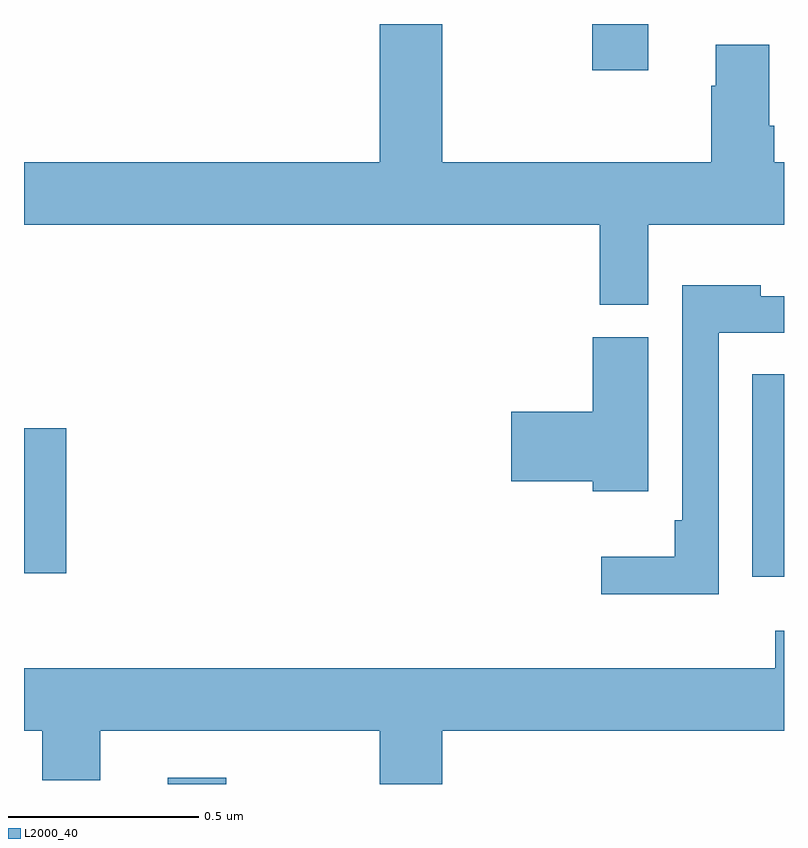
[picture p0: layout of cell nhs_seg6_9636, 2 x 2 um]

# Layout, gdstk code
import gdstk
lib = gdstk.Library(unit=1e-6, precision=1e-09)
def R(c, l, rs):  # rectangles x0, y0, x1, y1
    for r in rs: c.add(gdstk.rectangle(r[:2], r[2:], *l))
def P(c, l, *ps):  # polygons
    for p in ps: c.add(gdstk.Polygon(p, *l))
L2000_40 = (2000, 40)

nhs_seg6_9636 = lib.new_cell('nhs_seg6_9636')
R(nhs_seg6_9636, L2000_40, [(236.378,976.5,236.532,976.516), (237.917,977.046,238,977.578), (236,977.055,236.111,977.436), (237.495,978.378,237.643,978.5)])
P(nhs_seg6_9636, L2000_40, [(237.643,977.972),(238,977.972),(238,978.136),(237.974,978.136),(237.974,978.232),(237.961,978.232),(237.961,978.445),(237.821,978.445),(237.821,978.338),(237.809,978.338),(237.809,978.136),(237.1,978.136),(237.1,978.5),(236.936,978.5),(236.936,978.136),(236,978.136),(236,977.972),(237.515,977.972),(237.515,977.761),(237.643,977.761)],
  [(237.828,977.688),(238,977.688),(238,977.784),(237.939,977.784),(237.939,977.812),(237.732,977.812),(237.732,977.194),(237.712,977.194),(237.712,977.098),(237.519,977.098),(237.519,977),(237.828,977)],
  [(237.643,977.676),(237.497,977.676),(237.497,977.48),(237.282,977.48),(237.282,977.297),(237.497,977.297),(237.497,977.27),(237.643,977.27)],
  [(237.1,976.64),(238,976.64),(238,976.903),(237.977,976.903),(237.977,976.804),(236,976.804),(236,976.64),(236.048,976.64),(236.048,976.51),(236.2,976.51),(236.2,976.64),(236.936,976.64),(236.936,976.5),(237.1,976.5)])

lib.write_gds('nhs_seg6_9636.gds')
